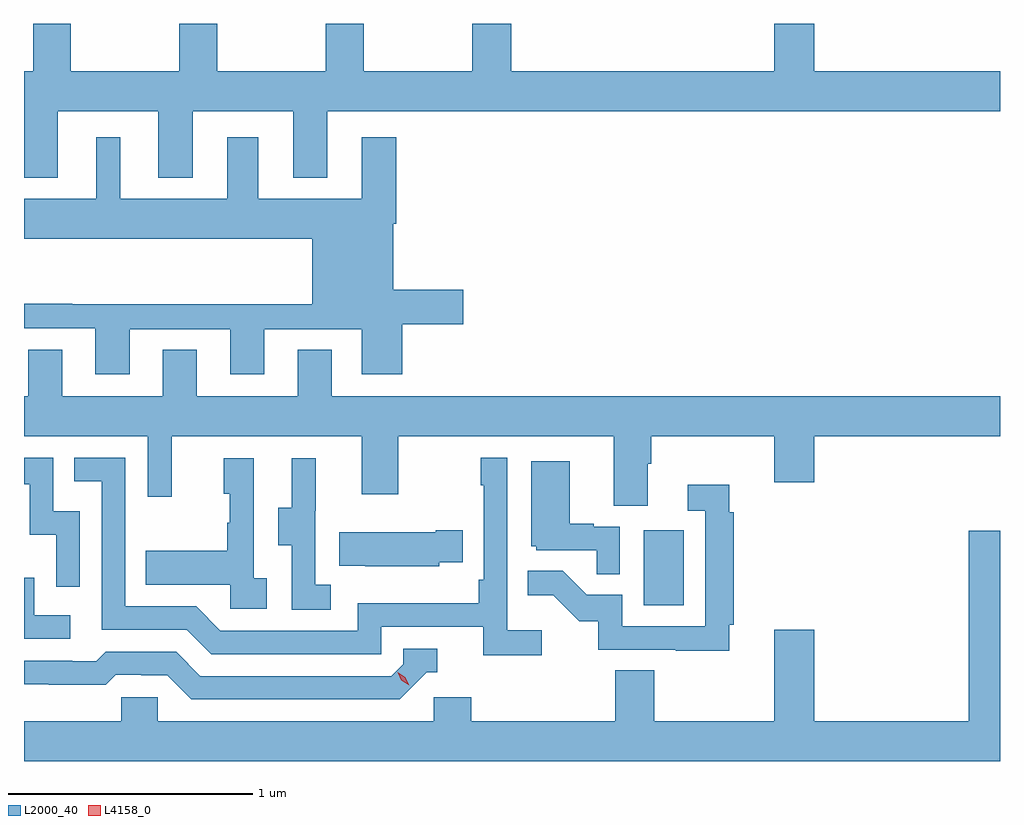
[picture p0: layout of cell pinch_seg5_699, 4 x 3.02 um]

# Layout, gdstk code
import gdstk
lib = gdstk.Library(unit=1e-6, precision=1e-09)
def R(c, l, rs):  # rectangles x0, y0, x1, y1
    for r in rs: c.add(gdstk.rectangle(r[:2], r[2:], *l))
def P(c, l, *ps):  # polygons
    for p in ps: c.add(gdstk.Polygon(p, *l))
L2000_40 = (2000, 40)
L4158_0 = (4158, 0)

pinch_seg5_699 = lib.new_cell('pinch_seg5_699')
R(pinch_seg5_699, L2000_40, [(1123.514,850.74,1123.678,851.047)])
P(pinch_seg5_699, L2000_40, [(1121.113,852.764),(1121.525,852.764),(1121.525,852.491),(1121.665,852.491),(1121.665,852.764),(1122.077,852.764),(1122.077,852.491),(1122.217,852.491),(1122.217,852.764),(1124.974,852.764),(1124.974,852.928),(1124.212,852.928),(1124.212,853.122),(1124.048,853.122),(1124.048,852.928),(1122.971,852.928),(1122.971,853.122),(1122.811,853.122),(1122.811,852.928),(1122.366,852.928),(1122.366,853.122),(1122.211,853.122),(1122.211,852.928),(1121.766,852.928),(1121.766,853.122),(1121.611,853.122),(1121.611,852.928),(1121.166,852.928),(1121.166,853.122),(1121.011,853.122),(1121.011,852.928),(1120.974,852.928),(1120.974,852.491),(1121.113,852.491)],
  [(1121.407,851.871),(1121.819,851.871),(1121.819,851.685),(1121.959,851.685),(1121.959,851.871),(1122.359,851.871),(1122.359,851.685),(1122.524,851.685),(1122.524,851.89),(1122.775,851.89),(1122.775,852.032),(1122.487,852.032),(1122.487,852.302),(1122.5,852.302),(1122.5,852.658),(1122.359,852.658),(1122.359,852.406),(1121.935,852.406),(1121.935,852.658),(1121.807,852.658),(1121.807,852.406),(1121.368,852.406),(1121.368,852.658),(1121.27,852.658),(1121.27,852.406),(1120.974,852.406),(1120.974,852.242),(1122.155,852.242),(1122.155,851.972),(1121.171,851.972),(1121.171,851.975),(1120.974,851.975),(1120.974,851.874),(1121.267,851.874),(1121.267,851.685),(1121.407,851.685)],
  [(1122.235,851.786),(1122.095,851.786),(1122.095,851.596),(1121.683,851.596),(1121.683,851.786),(1121.543,851.786),(1121.543,851.596),(1121.131,851.596),(1121.131,851.786),(1120.992,851.786),(1120.992,851.596),(1120.974,851.596),(1120.974,851.432),(1121.481,851.432),(1121.481,851.184),(1121.579,851.184),(1121.579,851.432),(1122.359,851.432),(1122.359,851.193),(1122.507,851.193),(1122.507,851.432),(1123.391,851.432),(1123.391,851.146),(1123.531,851.146),(1123.531,851.32),(1123.544,851.32),(1123.544,851.432),(1124.048,851.432),(1124.048,851.244),(1124.212,851.244),(1124.212,851.432),(1124.974,851.432),(1124.974,851.596),(1122.235,851.596)],
  [(1123.096,850.636),(1122.954,850.636),(1122.954,851.344),(1122.846,851.344),(1122.846,851.231),(1122.858,851.231),(1122.858,850.843),(1122.838,850.843),(1122.838,850.747),(1122.342,850.747),(1122.342,850.635),(1121.778,850.635),(1121.679,850.734),(1121.388,850.734),(1121.388,851.343),(1121.179,851.343),(1121.179,851.247),(1121.292,851.247),(1121.292,850.638),(1121.642,850.638),(1121.741,850.539),(1122.438,850.539),(1122.438,850.65),(1122.857,850.65),(1122.857,850.534),(1123.096,850.534)],
  [(1121.202,851.124),(1121.094,851.124),(1121.094,851.343),(1120.974,851.343),(1120.974,851.235),(1120.997,851.235),(1120.997,851.027),(1121.106,851.027),(1121.106,850.815),(1121.202,850.815)],
  [(1121.968,850.85),(1121.916,850.85),(1121.916,851.341),(1121.792,851.341),(1121.792,851.196),(1121.818,851.196),(1121.818,851.078),(1121.808,851.078),(1121.808,850.963),(1121.473,850.963),(1121.473,850.823),(1121.82,850.823),(1121.82,850.725),(1121.968,850.725)],
  [(1122.232,850.823),(1122.168,850.823),(1122.168,851.127),(1122.17,851.127),(1122.17,851.341),(1122.071,851.341),(1122.071,851.139),(1122.017,851.139),(1122.017,850.984),(1122.072,850.984),(1122.072,850.72),(1122.232,850.72)],
  [(1123.416,851.061),(1123.31,851.061),(1123.31,851.074),(1123.21,851.074),(1123.21,851.329),(1123.052,851.329),(1123.052,850.98),(1123.074,850.98),(1123.074,850.965),(1123.321,850.965),(1123.321,850.867),(1123.416,850.867)],
  [(1123.865,850.66),(1123.883,850.66),(1123.883,851.12),(1123.865,851.12),(1123.865,851.233),(1123.695,851.233),(1123.695,851.127),(1123.767,851.127),(1123.767,850.653),(1123.425,850.653),(1123.425,850.782),(1123.281,850.782),(1123.183,850.88),(1123.039,850.88),(1123.039,850.781),(1123.143,850.781),(1123.25,850.674),(1123.327,850.674),(1123.327,850.557),(1123.645,850.557),(1123.645,850.552),(1123.865,850.552)],
  [(1122.675,850.916),(1122.773,850.916),(1122.773,851.046),(1122.662,851.046),(1122.662,851.038),(1122.265,851.038),(1122.265,850.901),(1122.373,850.901),(1122.373,850.898),(1122.675,850.898)],
  [(1124.974,851.044),(1124.846,851.044),(1124.846,850.264),(1124.212,850.264),(1124.212,850.639),(1124.048,850.639),(1124.048,850.264),(1123.557,850.264),(1123.557,850.472),(1123.397,850.472),(1123.397,850.264),(1122.806,850.264),(1122.806,850.362),(1122.654,850.362),(1122.654,850.264),(1121.523,850.264),(1121.523,850.362),(1121.373,850.362),(1121.373,850.264),(1120.974,850.264),(1120.974,850.1),(1124.974,850.1)],
  [(1121.164,850.698),(1121.016,850.698),(1121.016,850.852),(1120.974,850.852),(1120.974,850.602),(1121.164,850.602)],
  [(1122.624,850.464),(1122.667,850.464),(1122.667,850.56),(1122.528,850.56),(1122.528,850.497),(1122.48,850.449),(1121.697,850.449),(1121.598,850.548),(1121.309,850.548),(1121.27,850.509),(1121.171,850.509),(1121.171,850.512),(1120.974,850.512),(1120.974,850.415),(1121.076,850.415),(1121.076,850.413),(1121.309,850.413),(1121.351,850.455),(1121.454,850.455),(1121.454,850.452),(1121.561,850.452),(1121.66,850.353),(1122.513,850.353)])
P(pinch_seg5_699, L4158_0, [(1122.552,850.412),(1122.521,850.431),(1122.505,850.464),(1122.505,850.464),(1122.506,850.464),(1122.536,850.445),(1122.552,850.412),(1122.552,850.412)])

lib.write_gds('pinch_seg5_699.gds')
